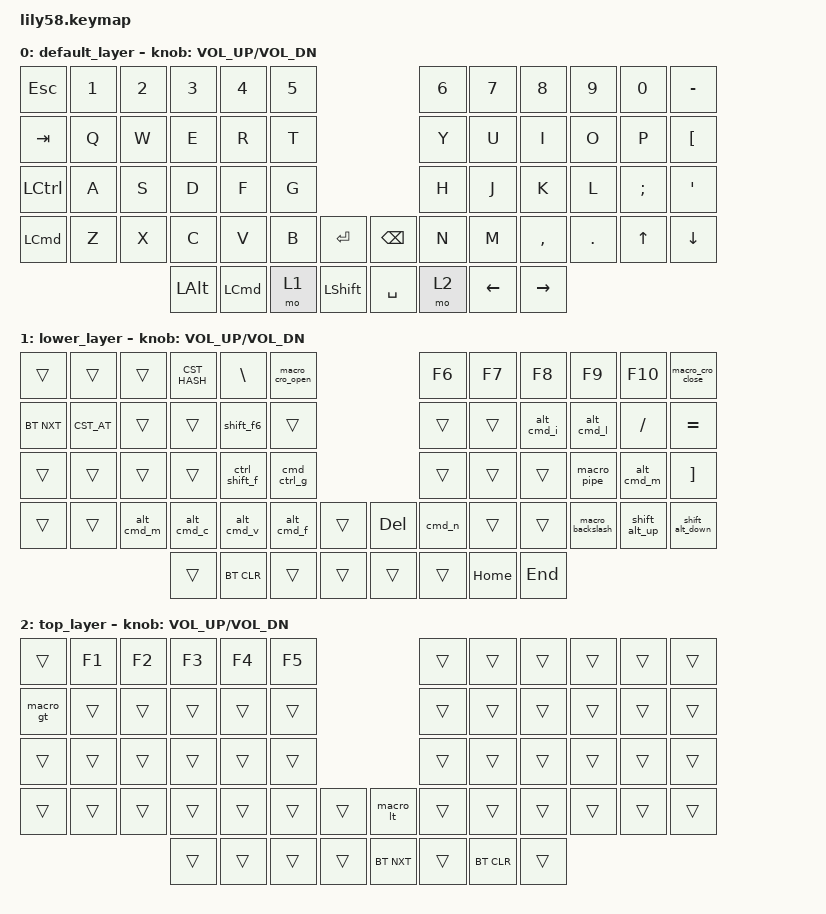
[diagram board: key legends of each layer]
/*
 * Copyright (c) 2020 The ZMK Contributors
 *
 * SPDX-License-Identifier: MIT
 */

#include <behaviors.dtsi>
#include <dt-bindings/zmk/keys.h>
#include <dt-bindings/zmk/bt.h>
#include <dt-bindings/zmk/ext_power.h>


/ {

    chosen {
      zmk,battery = &vbatt;
    };

    vbatt: vbatt {
        compatible = "zmk,battery-nrf-vddh";
        label = "VBATT";
    };
    

    
    macros {

        ctrl_shift_f: ctrl_shift_f {
            label = "IJ find in files";
            compatible = "zmk,behavior-macro";
            #binding-cells = <0>;
            bindings
                = <&macro_press &kp LSHFT &kp LCTRL>
                , <&macro_tap &kp F>
                , <&macro_release &kp F &kp LSHFT &kp LCTRL>
                ;
        };

        cmd_n: cmd_n {
            label = "IJ open class";
            compatible = "zmk,behavior-macro";
            #binding-cells = <0>;
            bindings
                = <&macro_press &kp LCMD>
                , <&macro_tap &kp N>
                , <&macro_release &kp LCMD &kp N>
                ;
        };

        shift_alt_up: shift_alt_up {
            label = "IJ move up";
            compatible = "zmk,behavior-macro";
            #binding-cells = <0>;
            bindings
                = <&macro_press &kp LSHFT &kp LALT>
                , <&macro_tap &kp UP>
                , <&macro_release &kp LSHFT &kp LALT>
                ;
        };

        shift_alt_down: shift_alt_down {
            label = "IJ move down";
            compatible = "zmk,behavior-macro";
            #binding-cells = <0>;
            bindings
                = <&macro_press &kp LSHFT &kp LALT>
                , <&macro_tap &kp DOWN>
                , <&macro_release &kp LSHFT &kp LALT>
                ;
        };

        shift_f6: shift_f6 {
            label = "IJ rename";
            compatible = "zmk,behavior-macro";
            #binding-cells = <0>;
            bindings
                = <&macro_press &kp LSHFT>
                , <&macro_tap &kp F6>
                , <&macro_release &kp LSHFT>
                ;
        };

        alt_cmd_m: alt_cmd_m {
            label = "IJ extract method";
            compatible = "zmk,behavior-macro";
            #binding-cells = <0>;
            bindings
                = <&macro_press &kp LCMD &kp LALT>
                , <&macro_tap &kp M>
                , <&macro_release &kp LCMD &kp LALT>
                ;
        };
	
	alt_cmd_l: alt_cmd_l {
            label = "IJ reformat code";
            compatible = "zmk,behavior-macro";
            #binding-cells = <0>;
            bindings
                = <&macro_press &kp LCMD &kp LALT>
                , <&macro_tap &kp L>
                , <&macro_release &kp LCMD &kp LALT>
                ;
        };

        alt_cmd_v: alt_cmd_v {
            label = "IJ extract variable";
            compatible = "zmk,behavior-macro";
            #binding-cells = <0>;
            bindings
                = <&macro_press &kp LCMD &kp LALT>
                , <&macro_tap &kp V>
                , <&macro_release &kp LCMD &kp LALT>
                ;
        };

        alt_cmd_f: alt_cmd_f {
            label = "IJ extract field";
            compatible = "zmk,behavior-macro";
            #binding-cells = <0>;
            bindings
                = <&macro_press &kp LCMD &kp LALT>
                , <&macro_tap &kp F>
                , <&macro_release &kp LCMD &kp LALT>
                ;
        };

        alt_cmd_c: alt_cmd_c {
            label = "IJ extract const";
            compatible = "zmk,behavior-macro";
            #binding-cells = <0>;
            bindings
                = <&macro_press &kp LCMD &kp LALT>
                , <&macro_tap &kp C>
                , <&macro_release &kp LCMD &kp LALT>
                ;
        };
	
	alt_cmd_i: alt_cmd_i {
            label = "Chrome dev tools";
            compatible = "zmk,behavior-macro";
            #binding-cells = <0>;
            bindings
                = <&macro_press &kp LCMD &kp LALT>
                , <&macro_tap &kp I>
                , <&macro_release &kp LCMD &kp LALT>
                ;
        };
	
	cmd_ctrl_g: cmd_ctrl_g {
            label = "IJ multi caret";
            compatible = "zmk,behavior-macro";
            #binding-cells = <0>;
            bindings
                = <&macro_press &kp LCMD &kp LCTRL>
                , <&macro_tap &kp G>
                , <&macro_release &kp LCMD &kp LCTRL>
                ;
        };

        macro_gt: macro_gt {
            label = "macro_gt";
            compatible = "zmk,behavior-macro";
            #binding-cells = <0>;
            bindings
                = <&macro_press &kp LSHIFT>
                , <&macro_tap &kp GRAVE>
                , <&macro_release &kp LSHIFT>
                ;
        };

        macro_lt: macro_lt {
            label = "macro_lt";
            compatible = "zmk,behavior-macro";
            #binding-cells = <0>;
            bindings
                = <&macro_tap &kp GRAVE>
                ;
        };

         macro_backslash: macro_backslash {
            label = "macro_backslash";
            compatible = "zmk,behavior-macro";
            #binding-cells = <0>;
            bindings
                = <&macro_press &kp RSHIFT &kp RALT>
                , <&macro_tap &kp PERIOD>
                , <&macro_release &kp RSHIFT &kp RALT>
                ;
        };

        macro_pipe: macro_pipe {
                    label = "macro_pipe";
                    compatible = "zmk,behavior-macro";
                    #binding-cells = <0>;
                    bindings
                        = <&macro_press &kp RSHIFT &kp RALT>
                        , <&macro_tap &kp L>
                        , <&macro_release &kp RSHIFT &kp RALT>
                        ;
                };

        macro_cro_open: macro_cro_open {
            label = "macro_cro_open";
            compatible = "zmk,behavior-macro";
            #binding-cells = <0>;
            bindings
                = <&macro_press &kp RSHIFT &kp RALT>
                , <&macro_tap &kp N5>
                , <&macro_release &kp RSHIFT &kp RALT>
                ;
        };

        macro_cro_close: macro_cro_close {
            label = "macro_cro_close";
            compatible = "zmk,behavior-macro";
            #binding-cells = <0>;
            bindings
                = <&macro_press &kp RSHIFT &kp RALT>
                , <&macro_tap &kp MINUS>
                , <&macro_release &kp RSHIFT &kp RALT>
                ;
        };

        CST_AT: CST_AT {
            label = "CST_AT";
            compatible = "zmk,behavior-macro";
            #binding-cells = <0>;
            bindings
                = <&macro_tap &kp NON_US_BACKSLASH>
                ;
        };

        CST_HASH: CST_HASH {
            label = "CST_HASH";
            compatible = "zmk,behavior-macro";
            #binding-cells = <0>;
            bindings
                = <&macro_press &kp LSHIFT>
                , <&macro_tap &kp NON_US_BACKSLASH>
                , <&macro_release &kp LSHIFT>
                ;
        };
    };

    behaviors {
        hm: homerow_mods {
            compatible = "zmk,behavior-hold-tap";
            label = "HOMEROW_MODS";
            #binding-cells = <2>;
            tapping-term-ms = <200>;
            quick-tap-ms = <0>;
            flavor = "tap-preferred";
            bindings = <&kp>, <&kp>;
        };
    };

	keymap {
		compatible = "zmk,keymap";

		default_layer {
// ------------------------------------------------------------------------------------------------------------
// |  ESC  |  1 ou &  | 2 ou é  | 3 ou "   | 4 ou '   | 5 ou (   |                   | 6 ou §   | 7 ou é    | 8 ou !    | 9 ou ç   |  0 ou à   |   ) ou °  |
// |  TAB  |  Q       |  W      |  E       |  R       |  T       |                   |  Y       |  U        |  I        |  O       |   P       |   ^ ou ¨  |
// |  CTRL |  A       |  S      |  D       |  F       |  G       |                   |  H       |  J        |  K        |  L       |   M       |   ù ou %  |
// |  CMD  |  Z       |  X      |  C       |  V       |  B       |  ENTER |  | BCSPC |  N       | , ou ?    |  ; ou .   | : ou /   |  UP       | DOWN      |
//                              | ALT      | CMD      | LOWER    |  SHIFT |  | SPACE | RAISE    | LEFT      | RIGHT     |
			bindings = <
    &kp ESC   &kp N1    &kp N2      &kp N3   &kp N4     &kp N5                            &kp N6    &kp N7    &kp N8      &kp N9    &kp N0          &kp MINUS
    &kp TAB   &kp Q     &kp W       &kp E    &kp R      &kp T                             &kp Y     &kp U     &kp I       &kp O     &kp P           &kp LBKT
    &kp LCTRL &kp A     &kp S       &kp D    &kp F      &kp G                             &kp H     &kp J     &kp K       &kp L     &kp SEMI        &kp SQT
    &kp LCMD  &kp Z     &kp X       &kp C    &kp V      &kp B       &kp RET    &kp BSPC   &kp N     &kp M     &kp COMMA   &kp DOT   &kp UP          &kp DOWN
                                    &kp LALT &kp LCMD   &mo 1       &kp LSHFT  &kp SPACE  &mo 2     &kp LEFT  &kp RIGHT
			>;

			sensor-bindings = <&inc_dec_kp C_VOL_UP C_VOL_DN>;
		};

		lower_layer {
// ------------------------------------------------------------------------------------------------------------
// |       |     |        |   #     |  `     |  [          |                   |  F6        |  F7   |  F8              |   F9        |  F10      |  ]        |
// |       | @   |        |         | rename |             |                   |            |       | chrome dev tools | format code | = et +    | - et _    |
// |       |     |        |         |  find  | multi caret |                   |            |       |                  |  "|"        | x meth    | $ et *    |
// |       |     | x meth | x const | x var  | x field     |        |  | del   | open class |       |                  |  \          |   line up | line down |
//                        |         |        |             |        |  |       |            | HOME  |  END             |
			bindings = <
&trans      &trans     &trans     &CST_HASH   &kp BACKSLASH   &macro_cro_open                         &kp F6      &kp F7           &kp F8          &kp F9           &kp F10          &macro_cro_close
&bt BT_NXT  &CST_AT    &trans     &trans     &shift_f6       &trans                                   &trans      &trans           &alt_cmd_i      &alt_cmd_l       &kp SLASH        &kp EQUAL
&trans      &trans     &trans     &trans     &ctrl_shift_f   &cmd_ctrl_g                              &trans      &trans           &trans          &macro_pipe      &alt_cmd_m       &kp RBKT
&trans      &trans     &alt_cmd_m &alt_cmd_c &alt_cmd_v      &alt_cmd_f       &trans        &kp DEL   &cmd_n      &trans           &trans          &macro_backslash &shift_alt_up    &shift_alt_down
                                  &trans     &bt BT_CLR      &trans           &trans        &trans    &trans      &kp HOME         &kp END
			>;

			sensor-bindings = <&inc_dec_kp C_VOL_UP C_VOL_DN>;
		};

        top_layer {
        // ------------------------------------------------------------------------------------------------------------
        // |       |F1   |  F2 |  F3  |  F4  |  F5   |                   |      |       |       |      |       |       |
        // |  >    |     |     |      |      |       |                   |      |       |       |      |       |       |
        // |       |     |     |      |      |       |                   |      |       |       |      |       |       |
        // |       |     |     |      |      |       |        |  |   <   |      |       |       |      |       |       |
        //                     |      |      |       |        |  |       |      |       |       |
                    bindings = <
        &trans     &kp F1     &kp F2     &kp F3   &kp F4          &kp F5                              &trans      &trans           &trans          &trans    &trans          &trans
        &macro_gt  &trans     &trans     &trans   &trans          &trans                              &trans      &trans           &trans          &trans    &trans           &trans
        &trans     &trans     &trans     &trans   &trans          &trans                              &trans      &trans           &trans          &trans    &trans           &trans
        &trans     &trans     &trans     &trans   &trans          &trans    &trans         &macro_lt  &trans      &trans           &trans          &trans    &trans           &trans
                                         &trans   &trans          &trans    &trans         &bt BT_NXT &trans      &bt BT_CLR       &trans
                    >;

                    sensor-bindings = <&inc_dec_kp C_VOL_UP C_VOL_DN>;
                };

	};
};
